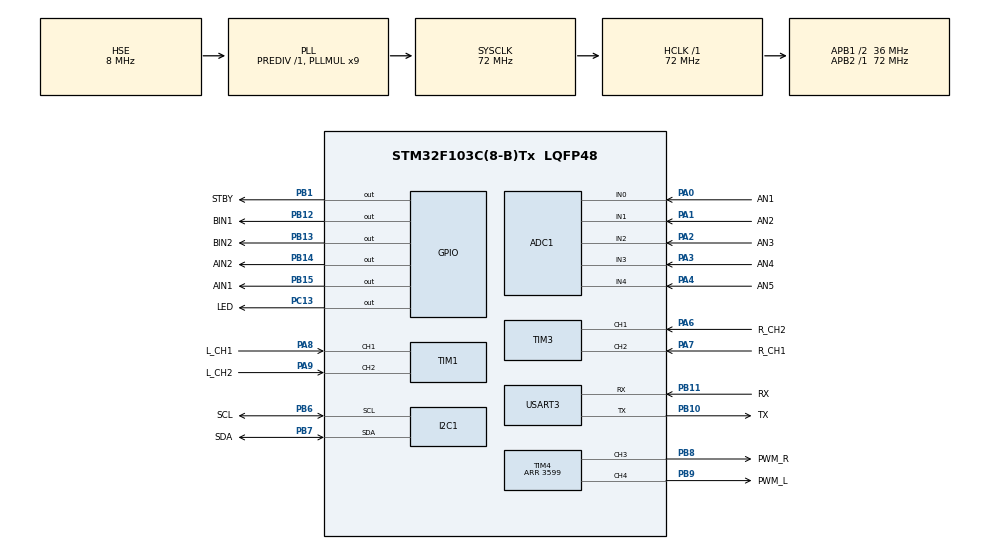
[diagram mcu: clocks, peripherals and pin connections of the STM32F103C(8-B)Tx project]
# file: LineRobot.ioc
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ADC1.Channel-0\#ChannelRegularConversion=ADC_CHANNEL_0
ADC1.Channel-1\#ChannelRegularConversion=ADC_CHANNEL_1
ADC1.Channel-2\#ChannelRegularConversion=ADC_CHANNEL_2
ADC1.Channel-3\#ChannelRegularConversion=ADC_CHANNEL_3
ADC1.Channel-4\#ChannelRegularConversion=ADC_CHANNEL_4
ADC1.ContinuousConvMode=DISABLE
ADC1.NbrOfConversion=5
ADC1.NbrOfConversionFlag=1
ADC1.Rank-0\#ChannelRegularConversion=1
ADC1.Rank-1\#ChannelRegularConversion=2
ADC1.Rank-2\#ChannelRegularConversion=3
ADC1.Rank-3\#ChannelRegularConversion=4
ADC1.Rank-4\#ChannelRegularConversion=5
ADC1.SamplingTime-0\#ChannelRegularConversion=ADC_SAMPLETIME_71CYCLES_5
ADC1.SamplingTime-1\#ChannelRegularConversion=ADC_SAMPLETIME_71CYCLES_5
ADC1.SamplingTime-2\#ChannelRegularConversion=ADC_SAMPLETIME_71CYCLES_5
ADC1.SamplingTime-3\#ChannelRegularConversion=ADC_SAMPLETIME_71CYCLES_5
ADC1.SamplingTime-4\#ChannelRegularConversion=ADC_SAMPLETIME_71CYCLES_5
ADC1.master=1
Dma.ADC1.0.Direction=DMA_PERIPH_TO_MEMORY
Dma.ADC1.0.Instance=DMA1_Channel1
Dma.ADC1.0.MemDataAlignment=DMA_MDATAALIGN_HALFWORD
Dma.ADC1.0.MemInc=DMA_MINC_ENABLE
Dma.ADC1.0.Mode=DMA_NORMAL
Dma.ADC1.0.PeriphDataAlignment=DMA_PDATAALIGN_HALFWORD
Dma.ADC1.0.PeriphInc=DMA_PINC_DISABLE
Dma.ADC1.0.Priority=DMA_PRIORITY_LOW
Dma.Request0=ADC1
Mcu.Family=STM32F1
Mcu.Name=STM32F103C(8-B)Tx
Mcu.Package=LQFP48
NVIC.DMA1_Channel1_IRQn=true\:0\:0\:false\:false\:true\:false\:true\:true
NVIC.PriorityGroup=NVIC_PRIORITYGROUP_4
NVIC.TIM2_IRQn=true\:1\:0\:true\:false\:true\:true\:true\:true
PA0-WKUP.GPIO_Label=AN1
PA0-WKUP.Signal=ADCx_IN0
PA1.GPIO_Label=AN2
PA1.Signal=ADCx_IN1
PA13.Mode=Serial_Wire
PA13.Signal=SYS_JTMS-SWDIO
PA14.Mode=Serial_Wire
PA14.Signal=SYS_JTCK-SWCLK
PA2.GPIO_Label=AN3
PA2.Signal=ADCx_IN2
PA3.GPIO_Label=AN4
PA3.Signal=ADCx_IN3
PA4.GPIO_Label=AN5
PA4.Signal=ADCx_IN4
PA6.GPIO_Label=R_CH2
PA6.Signal=S_TIM3_CH1
PA7.GPIO_Label=R_CH1
PA7.Signal=S_TIM3_CH2
PA8.GPIO_Label=L_CH1
PA8.Signal=S_TIM1_CH1
PA9.GPIO_Label=L_CH2
PA9.Signal=S_TIM1_CH2
PB1.GPIO_Label=STBY
PB1.Signal=GPIO_Output
PB10.GPIO_Label=TX
PB10.Mode=Asynchronous
PB10.Signal=USART3_TX
PB11.GPIO_Label=RX
PB11.Mode=Asynchronous
PB11.Signal=USART3_RX
PB12.GPIO_Label=BIN1
PB12.Signal=GPIO_Output
PB13.GPIO_Label=BIN2
PB13.Signal=GPIO_Output
PB14.GPIO_Label=AIN2
PB14.Signal=GPIO_Output
PB15.GPIO_Label=AIN1
PB15.Signal=GPIO_Output
PB6.GPIO_Label=SCL
PB6.Mode=I2C
PB6.Signal=I2C1_SCL
PB7.GPIO_Label=SDA
PB7.Mode=I2C
PB7.Signal=I2C1_SDA
PB8.GPIO_Label=PWM_R
PB8.Signal=S_TIM4_CH3
PB9.GPIO_Label=PWM_L
PB9.Signal=S_TIM4_CH4
PC13-TAMPER-RTC.GPIO_Label=LED
PC13-TAMPER-RTC.Signal=GPIO_Output
PC14-OSC32_IN.Mode=LSE-External-Oscillator
PC14-OSC32_IN.Signal=RCC_OSC32_IN
PC15-OSC32_OUT.Mode=LSE-External-Oscillator
PC15-OSC32_OUT.Signal=RCC_OSC32_OUT
PD0-OSC_IN.Mode=HSE-External-Oscillator
PD0-OSC_IN.Signal=RCC_OSC_IN
PD1-OSC_OUT.Mode=HSE-External-Oscillator
PD1-OSC_OUT.Signal=RCC_OSC_OUT
ProjectManager.HeapSize=0x200
ProjectManager.StackSize=0x400
ProjectManager.TargetToolchain=CMake
RCC.ADCPresc=RCC_ADCPCLK2_DIV6
RCC.AHBFreq_Value=72000000
RCC.APB1CLKDivider=RCC_HCLK_DIV2
RCC.APB1Freq_Value=36000000
RCC.APB1TimFreq_Value=72000000
RCC.APB2Freq_Value=72000000
RCC.APB2TimFreq_Value=72000000
RCC.HCLKFreq_Value=72000000
RCC.PLLMUL=RCC_PLL_MUL9
RCC.PLLSourceVirtual=RCC_PLLSOURCE_HSE
RCC.SYSCLKFreq_VALUE=72000000
RCC.SYSCLKSource=RCC_SYSCLKSOURCE_PLLCLK
RCC.USBFreq_Value=72000000
SH.ADCx_IN0.0=ADC1_IN0,IN0
SH.ADCx_IN1.0=ADC1_IN1,IN1
SH.ADCx_IN2.0=ADC1_IN2,IN2
SH.ADCx_IN3.0=ADC1_IN3,IN3
SH.ADCx_IN4.0=ADC1_IN4,IN4
SH.S_TIM1_CH1.0=TIM1_CH1,Encoder_Interface
SH.S_TIM1_CH2.0=TIM1_CH2,Encoder_Interface
SH.S_TIM3_CH1.0=TIM3_CH1,Encoder_Interface
SH.S_TIM3_CH2.0=TIM3_CH2,Encoder_Interface
SH.S_TIM4_CH3.0=TIM4_CH3,PWM Generation3 CH3
SH.S_TIM4_CH4.0=TIM4_CH4,PWM Generation4 CH4
TIM1.EncoderMode=TIM_ENCODERMODE_TI12
TIM1.IC1Filter=8
TIM2.Period=99
TIM2.Prescaler=7199
TIM3.EncoderMode=TIM_ENCODERMODE_TI12
TIM3.IC1Filter=8
TIM4.AutoReloadPreload=TIM_AUTORELOAD_PRELOAD_ENABLE
TIM4.Channel-PWM\ Generation3\ CH3=TIM_CHANNEL_3
TIM4.Channel-PWM\ Generation4\ CH4=TIM_CHANNEL_4
TIM4.Period=3599
USART3.VirtualMode=VM_ASYNC
VP_TIM2_VS_ClockSourceINT.Mode=Internal
board=custom

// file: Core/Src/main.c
/* USER CODE BEGIN Header */
/**
  ******************************************************************************
  * @file           : main.c
  * @brief          : Main program body
  ******************************************************************************
  * @attention
  *
  * Copyright (c) 2026 STMicroelectronics.
  * All rights reserved.
  *
  * This software is licensed under terms that can be found in the LICENSE file
  * in the root directory of this software component.
  * If no LICENSE file comes with this software, it is provided AS-IS.
  *
  ******************************************************************************
  */
/* USER CODE END Header */
#include "main.h"

/* USER CODE BEGIN Includes */
#ifdef TEST_SENSOR
void TestColor_Init(void);
void TestColor_Task(void);
void TestLine_Init(void);
#else
#include "robot.h"
#include "calibration.h"
#endif
/* USER CODE END Includes */

ADC_HandleTypeDef hadc1;
DMA_HandleTypeDef hdma_adc1;

I2C_HandleTypeDef hi2c1;

TIM_HandleTypeDef htim1;
TIM_HandleTypeDef htim2;
TIM_HandleTypeDef htim3;
TIM_HandleTypeDef htim4;

UART_HandleTypeDef huart3;

void SystemClock_Config(void);
static void MX_GPIO_Init(void);
static void MX_DMA_Init(void);
static void MX_ADC1_Init(void);
static void MX_I2C1_Init(void);
static void MX_TIM1_Init(void);
static void MX_TIM2_Init(void);
static void MX_TIM3_Init(void);
static void MX_TIM4_Init(void);
static void MX_USART3_UART_Init(void);

int main(void)
{

  /* USER CODE BEGIN 1 */
#ifndef TEST_SENSOR
  Calibration_CaptureBootReason();
#endif
  /* USER CODE END 1 */

  /* MCU Configuration--------------------------------------------------------*/

  /* Reset of all peripherals, Initializes the Flash interface and the Systick. */
  HAL_Init();

  /* Configure the system clock */
  SystemClock_Config();

  /* Initialize all configured peripherals */
  MX_GPIO_Init();
  MX_DMA_Init();
  MX_ADC1_Init();
  MX_I2C1_Init();
  MX_TIM1_Init();
  MX_TIM2_Init();
  MX_TIM3_Init();
  MX_TIM4_Init();
  MX_USART3_UART_Init();
  /* USER CODE BEGIN 2 */
#ifdef TEST_SENSOR
  TestColor_Init();
  TestLine_Init();
#else
  if (!Robot_Init())
  {
    Error_Handler();
  }
#endif
  /* USER CODE END 2 */

  /* Infinite loop */
  while (1)
  {

    /* USER CODE BEGIN 3 */
#ifdef TEST_SENSOR
    TestColor_Task();
#else
    Robot_Task();
#endif
  }
  /* USER CODE END 3 */
}

void SystemClock_Config(void)
{
  RCC_OscInitTypeDef RCC_OscInitStruct = {0};
  RCC_ClkInitTypeDef RCC_ClkInitStruct = {0};
  RCC_PeriphCLKInitTypeDef PeriphClkInit = {0};

  /** Initializes the RCC Oscillators according to the specified parameters
  * in the RCC_OscInitTypeDef structure.
  */
  RCC_OscInitStruct.OscillatorType = RCC_OSCILLATORTYPE_HSE;
  RCC_OscInitStruct.HSEState = RCC_HSE_ON;
  RCC_OscInitStruct.HSEPredivValue = RCC_HSE_PREDIV_DIV1;
  RCC_OscInitStruct.HSIState = RCC_HSI_ON;
  RCC_OscInitStruct.PLL.PLLState = RCC_PLL_ON;
  RCC_OscInitStruct.PLL.PLLSource = RCC_PLLSOURCE_HSE;
  RCC_OscInitStruct.PLL.PLLMUL = RCC_PLL_MUL9;
  if (HAL_RCC_OscConfig(&RCC_OscInitStruct) != HAL_OK)
  {
    Error_Handler();
  }

  /** Initializes the CPU, AHB and APB buses clocks
  */
  RCC_ClkInitStruct.ClockType = RCC_CLOCKTYPE_HCLK|RCC_CLOCKTYPE_SYSCLK
                              |RCC_CLOCKTYPE_PCLK1|RCC_CLOCKTYPE_PCLK2;
  RCC_ClkInitStruct.SYSCLKSource = RCC_SYSCLKSOURCE_PLLCLK;
  RCC_ClkInitStruct.AHBCLKDivider = RCC_SYSCLK_DIV1;
  RCC_ClkInitStruct.APB1CLKDivider = RCC_HCLK_DIV2;
  RCC_ClkInitStruct.APB2CLKDivider = RCC_HCLK_DIV1;

  if (HAL_RCC_ClockConfig(&RCC_ClkInitStruct, FLASH_LATENCY_2) != HAL_OK)
  {
    Error_Handler();
  }
  PeriphClkInit.PeriphClockSelection = RCC_PERIPHCLK_ADC;
  PeriphClkInit.AdcClockSelection = RCC_ADCPCLK2_DIV6;
  if (HAL_RCCEx_PeriphCLKConfig(&PeriphClkInit) != HAL_OK)
  {
    Error_Handler();
  }
}

static void MX_ADC1_Init(void)
{

  ADC_ChannelConfTypeDef sConfig = {0};

  /** Common config
  */
  hadc1.Instance = ADC1;
  hadc1.Init.ScanConvMode = ADC_SCAN_ENABLE;
  hadc1.Init.ContinuousConvMode = DISABLE;
  hadc1.Init.DiscontinuousConvMode = DISABLE;
  hadc1.Init.ExternalTrigConv = ADC_SOFTWARE_START;
  hadc1.Init.DataAlign = ADC_DATAALIGN_RIGHT;
  hadc1.Init.NbrOfConversion = 5;
  if (HAL_ADC_Init(&hadc1) != HAL_OK)
  {
    Error_Handler();
  }

  /** Configure Regular Channel
  */
  sConfig.Channel = ADC_CHANNEL_0;
  sConfig.Rank = ADC_REGULAR_RANK_1;
  sConfig.SamplingTime = ADC_SAMPLETIME_71CYCLES_5;
  if (HAL_ADC_ConfigChannel(&hadc1, &sConfig) != HAL_OK)
  {
    Error_Handler();
  }

  /** Configure Regular Channel
  */
  sConfig.Channel = ADC_CHANNEL_1;
  sConfig.Rank = ADC_REGULAR_RANK_2;
  if (HAL_ADC_ConfigChannel(&hadc1, &sConfig) != HAL_OK)
  {
    Error_Handler();
  }

  /** Configure Regular Channel
  */
  sConfig.Channel = ADC_CHANNEL_2;
  sConfig.Rank = ADC_REGULAR_RANK_3;
  if (HAL_ADC_ConfigChannel(&hadc1, &sConfig) != HAL_OK)
  {
    Error_Handler();
  }

  /** Configure Regular Channel
  */
  sConfig.Channel = ADC_CHANNEL_3;
  sConfig.Rank = ADC_REGULAR_RANK_4;
  if (HAL_ADC_ConfigChannel(&hadc1, &sConfig) != HAL_OK)
  {
    Error_Handler();
  }

  /** Configure Regular Channel
  */
  sConfig.Channel = ADC_CHANNEL_4;
  sConfig.Rank = ADC_REGULAR_RANK_5;
  if (HAL_ADC_ConfigChannel(&hadc1, &sConfig) != HAL_OK)
  {
    Error_Handler();
  }

}

static void MX_I2C1_Init(void)
{

  hi2c1.Instance = I2C1;
  hi2c1.Init.ClockSpeed = 100000;
  hi2c1.Init.DutyCycle = I2C_DUTYCYCLE_2;
  hi2c1.Init.OwnAddress1 = 0;
  hi2c1.Init.AddressingMode = I2C_ADDRESSINGMODE_7BIT;
  hi2c1.Init.DualAddressMode = I2C_DUALADDRESS_DISABLE;
  hi2c1.Init.OwnAddress2 = 0;
  hi2c1.Init.GeneralCallMode = I2C_GENERALCALL_DISABLE;
  hi2c1.Init.NoStretchMode = I2C_NOSTRETCH_DISABLE;
  if (HAL_I2C_Init(&hi2c1) != HAL_OK)
  {
    Error_Handler();
  }

}

static void MX_TIM1_Init(void)
{

  TIM_Encoder_InitTypeDef sConfig = {0};
  TIM_MasterConfigTypeDef sMasterConfig = {0};

  htim1.Instance = TIM1;
  htim1.Init.Prescaler = 0;
  htim1.Init.CounterMode = TIM_COUNTERMODE_UP;
  htim1.Init.Period = 65535;
  htim1.Init.ClockDivision = TIM_CLOCKDIVISION_DIV1;
  htim1.Init.RepetitionCounter = 0;
  htim1.Init.AutoReloadPreload = TIM_AUTORELOAD_PRELOAD_DISABLE;
  sConfig.EncoderMode = TIM_ENCODERMODE_TI12;
  sConfig.IC1Polarity = TIM_ICPOLARITY_RISING;
  sConfig.IC1Selection = TIM_ICSELECTION_DIRECTTI;
  sConfig.IC1Prescaler = TIM_ICPSC_DIV1;
  sConfig.IC1Filter = 8;
  sConfig.IC2Polarity = TIM_ICPOLARITY_RISING;
  sConfig.IC2Selection = TIM_ICSELECTION_DIRECTTI;
  sConfig.IC2Prescaler = TIM_ICPSC_DIV1;
  sConfig.IC2Filter = 0;
  if (HAL_TIM_Encoder_Init(&htim1, &sConfig) != HAL_OK)
  {
    Error_Handler();
  }
  sMasterConfig.MasterOutputTrigger = TIM_TRGO_RESET;
  sMasterConfig.MasterSlaveMode = TIM_MASTERSLAVEMODE_DISABLE;
  if (HAL_TIMEx_MasterConfigSynchronization(&htim1, &sMasterConfig) != HAL_OK)
  {
    Error_Handler();
  }

}

static void MX_TIM2_Init(void)
{

  TIM_ClockConfigTypeDef sClockSourceConfig = {0};
  TIM_MasterConfigTypeDef sMasterConfig = {0};

  htim2.Instance = TIM2;
  htim2.Init.Prescaler = 7199;
  htim2.Init.CounterMode = TIM_COUNTERMODE_UP;
  htim2.Init.Period = 99;
  htim2.Init.ClockDivision = TIM_CLOCKDIVISION_DIV1;
  htim2.Init.AutoReloadPreload = TIM_AUTORELOAD_PRELOAD_DISABLE;
  if (HAL_TIM_Base_Init(&htim2) != HAL_OK)
  {
    Error_Handler();
  }
  sClockSourceConfig.ClockSource = TIM_CLOCKSOURCE_INTERNAL;
  if (HAL_TIM_ConfigClockSource(&htim2, &sClockSourceConfig) != HAL_OK)
  {
    Error_Handler();
  }
  sMasterConfig.MasterOutputTrigger = TIM_TRGO_RESET;
  sMasterConfig.MasterSlaveMode = TIM_MASTERSLAVEMODE_DISABLE;
  if (HAL_TIMEx_MasterConfigSynchronization(&htim2, &sMasterConfig) != HAL_OK)
  {
    Error_Handler();
  }

}

static void MX_TIM3_Init(void)
{

  TIM_Encoder_InitTypeDef sConfig = {0};
  TIM_MasterConfigTypeDef sMasterConfig = {0};

  htim3.Instance = TIM3;
  htim3.Init.Prescaler = 0;
  htim3.Init.CounterMode = TIM_COUNTERMODE_UP;
  htim3.Init.Period = 65535;
  htim3.Init.ClockDivision = TIM_CLOCKDIVISION_DIV1;
  htim3.Init.AutoReloadPreload = TIM_AUTORELOAD_PRELOAD_DISABLE;
  sConfig.EncoderMode = TIM_ENCODERMODE_TI12;
  sConfig.IC1Polarity = TIM_ICPOLARITY_RISING;
  sConfig.IC1Selection = TIM_ICSELECTION_DIRECTTI;
  sConfig.IC1Prescaler = TIM_ICPSC_DIV1;
  sConfig.IC1Filter = 8;
  sConfig.IC2Polarity = TIM_ICPOLARITY_RISING;
  sConfig.IC2Selection = TIM_ICSELECTION_DIRECTTI;
  sConfig.IC2Prescaler = TIM_ICPSC_DIV1;
  sConfig.IC2Filter = 0;
  if (HAL_TIM_Encoder_Init(&htim3, &sConfig) != HAL_OK)
  {
    Error_Handler();
  }
  sMasterConfig.MasterOutputTrigger = TIM_TRGO_RESET;
  sMasterConfig.MasterSlaveMode = TIM_MASTERSLAVEMODE_DISABLE;
  if (HAL_TIMEx_MasterConfigSynchronization(&htim3, &sMasterConfig) != HAL_OK)
  {
    Error_Handler();
  }

}

static void MX_TIM4_Init(void)
{

  TIM_MasterConfigTypeDef sMasterConfig = {0};
  TIM_OC_InitTypeDef sConfigOC = {0};

  htim4.Instance = TIM4;
  htim4.Init.Prescaler = 0;
  htim4.Init.CounterMode = TIM_COUNTERMODE_UP;
  htim4.Init.Period = 3599;
  htim4.Init.ClockDivision = TIM_CLOCKDIVISION_DIV1;
  htim4.Init.AutoReloadPreload = TIM_AUTORELOAD_PRELOAD_ENABLE;
  if (HAL_TIM_PWM_Init(&htim4) != HAL_OK)
  {
    Error_Handler();
  }
  sMasterConfig.MasterOutputTrigger = TIM_TRGO_RESET;
  sMasterConfig.MasterSlaveMode = TIM_MASTERSLAVEMODE_DISABLE;
  if (HAL_TIMEx_MasterConfigSynchronization(&htim4, &sMasterConfig) != HAL_OK)
  {
    Error_Handler();
  }
  sConfigOC.OCMode = TIM_OCMODE_PWM1;
  sConfigOC.Pulse = 0;
  sConfigOC.OCPolarity = TIM_OCPOLARITY_HIGH;
  sConfigOC.OCFastMode = TIM_OCFAST_DISABLE;
  if (HAL_TIM_PWM_ConfigChannel(&htim4, &sConfigOC, TIM_CHANNEL_3) != HAL_OK)
  {
    Error_Handler();
  }
  if (HAL_TIM_PWM_ConfigChannel(&htim4, &sConfigOC, TIM_CHANNEL_4) != HAL_OK)
  {
    Error_Handler();
  }
  HAL_TIM_MspPostInit(&htim4);

}

static void MX_USART3_UART_Init(void)
{

  huart3.Instance = USART3;
  huart3.Init.BaudRate = 115200;
  huart3.Init.WordLength = UART_WORDLENGTH_8B;
  huart3.Init.StopBits = UART_STOPBITS_1;
  huart3.Init.Parity = UART_PARITY_NONE;
  huart3.Init.Mode = UART_MODE_TX_RX;
  huart3.Init.HwFlowCtl = UART_HWCONTROL_NONE;
  huart3.Init.OverSampling = UART_OVERSAMPLING_16;
  if (HAL_UART_Init(&huart3) != HAL_OK)
  {
    Error_Handler();
  }

}

static void MX_DMA_Init(void)
{

  /* DMA controller clock enable */
  __HAL_RCC_DMA1_CLK_ENABLE();

  /* DMA interrupt init */
  /* DMA1_Channel1_IRQn interrupt configuration */
  HAL_NVIC_SetPriority(DMA1_Channel1_IRQn, 0, 0);
  HAL_NVIC_EnableIRQ(DMA1_Channel1_IRQn);

}

static void MX_GPIO_Init(void)
{
  GPIO_InitTypeDef GPIO_InitStruct = {0};

  /* GPIO Ports Clock Enable */
  __HAL_RCC_GPIOC_CLK_ENABLE();
  __HAL_RCC_GPIOD_CLK_ENABLE();
  __HAL_RCC_GPIOA_CLK_ENABLE();
  __HAL_RCC_GPIOB_CLK_ENABLE();

  /*Configure GPIO pin Output Level */
  HAL_GPIO_WritePin(LED_GPIO_Port, LED_Pin, GPIO_PIN_RESET);

  /*Configure GPIO pin Output Level */
  HAL_GPIO_WritePin(GPIOB, STBY_Pin|BIN1_Pin|BIN2_Pin|AIN2_Pin
                          |AIN1_Pin, GPIO_PIN_RESET);

  /*Configure GPIO pin : LED_Pin */
  GPIO_InitStruct.Pin = LED_Pin;
  GPIO_InitStruct.Mode = GPIO_MODE_OUTPUT_PP;
  GPIO_InitStruct.Pull = GPIO_NOPULL;
  GPIO_InitStruct.Speed = GPIO_SPEED_FREQ_LOW;
  HAL_GPIO_Init(LED_GPIO_Port, &GPIO_InitStruct);

  /*Configure GPIO pins : STBY_Pin BIN1_Pin BIN2_Pin AIN2_Pin
                           AIN1_Pin */
  GPIO_InitStruct.Pin = STBY_Pin|BIN1_Pin|BIN2_Pin|AIN2_Pin
                          |AIN1_Pin;
  GPIO_InitStruct.Mode = GPIO_MODE_OUTPUT_PP;
  GPIO_InitStruct.Pull = GPIO_NOPULL;
  GPIO_InitStruct.Speed = GPIO_SPEED_FREQ_LOW;
  HAL_GPIO_Init(GPIOB, &GPIO_InitStruct);

}

void Error_Handler(void)
{
  __disable_irq();
  while (1)
  {
  }
}
